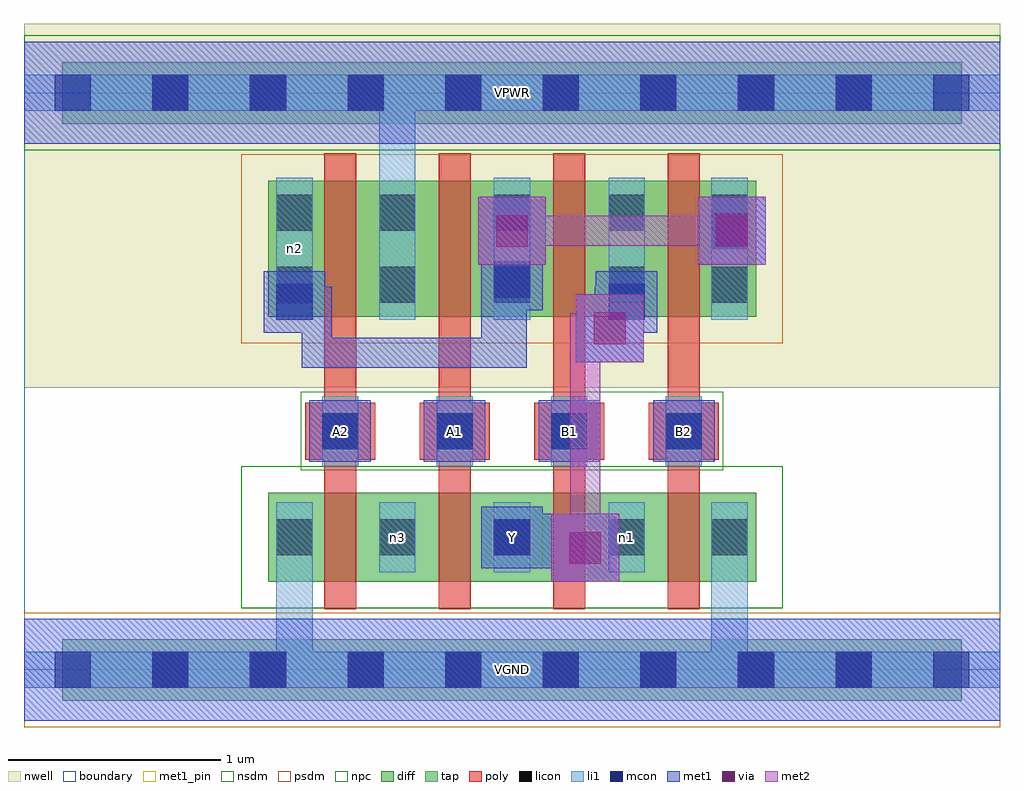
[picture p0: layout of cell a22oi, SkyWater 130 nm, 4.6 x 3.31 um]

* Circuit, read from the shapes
.subckt a22oi A1 A2 B1 B2 VGND VPWR Y n1 n2 n3
XM1 n3 A2 VGND VGND sky130_fd_pr__nfet_01v8 w=0.42 l=0.15
XM2 Y A1 n3 VGND sky130_fd_pr__nfet_01v8 w=0.42 l=0.15
XM3 n1 B1 Y VGND sky130_fd_pr__nfet_01v8 w=0.42 l=0.15
XM4 VGND B2 n1 VGND sky130_fd_pr__nfet_01v8 w=0.42 l=0.15
XM5 VPWR A2 n2 VPWR sky130_fd_pr__pfet_01v8 w=0.64 l=0.15
XM6 n2 A1 VPWR VPWR sky130_fd_pr__pfet_01v8 w=0.64 l=0.15
XM7 Y B1 n2 VPWR sky130_fd_pr__pfet_01v8 w=0.64 l=0.15
XM8 n2 B2 Y VPWR sky130_fd_pr__pfet_01v8 w=0.64 l=0.15
.ends

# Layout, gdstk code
import gdstk
lib = gdstk.Library(unit=1e-6, precision=1e-09)
def R(c, l, rs):  # rectangles x0, y0, x1, y1
    for r in rs: c.add(gdstk.rectangle(r[:2], r[2:], *l))
def A(c, l, x, y, w, h, nx, ny, dx, dy):  # array of equal rectangles
    R(c, l, [(x+i*dx, y+j*dy, x+i*dx+w, y+j*dy+h) for i in range(nx) for j in range(ny)])
nwell = (64, 20)
diff = (65, 20)
tap = (65, 44)
poly = (66, 20)
licon = (66, 44)
li1 = (67, 20)
mcon = (67, 44)
met1_pin = (68, 16)
met1 = (68, 20)
via = (68, 44)
met2 = (69, 20)
nsdm = (93, 44)
psdm = (94, 20)
npc = (95, 20)
boundary = (235, 4)

a22oi = lib.new_cell('a22oi')
R(a22oi, nwell, [(0,1.33,4.6,3.045)])
R(a22oi, diff, [(1.15,0.415,3.45,0.835), (1.15,1.665,3.45,2.305)])
R(a22oi, tap, [(0.18,-0.145,4.42,0.145), (0.18,2.575,4.42,2.865)])
A(a22oi, poly, 1.415, 0.285, 0.15, 2.15, 4, 1, 0.54, 0)
A(a22oi, poly, 1.325, 0.99, 0.33, 0.27, 4, 1, 0.54, 0)
A(a22oi, licon, 0.605, -0.085, 0.17, 0.17, 8, 2, 0.46, 2.72)
A(a22oi, licon, 1.675, 0.54, 0.17, 0.17, 3, 2, 0.54, 1.19)
A(a22oi, licon, 1.405, 1.04, 0.17, 0.17, 4, 1, 0.54, 0)
A(a22oi, licon, 1.675, 2.07, 0.17, 0.17, 3, 1, 0.54, 0)
R(a22oi, licon, [(1.19,0.54,1.36,0.71), (3.24,0.54,3.41,0.71), (1.19,1.73,1.36,1.9), (3.24,1.73,3.41,1.9), (1.19,2.07,1.36,2.24), (3.24,2.07,3.41,2.24)])
A(a22oi, li1, 1.675, 0.46, 0.17, 0.33, 3, 1, 0.54, 0)
A(a22oi, li1, 1.405, 0.96, 0.17, 0.33, 4, 1, 0.54, 0)
A(a22oi, li1, 1.675, 1.65, 0.17, 0.67, 3, 1, 0.54, 0)
R(a22oi, li1, [(0,-0.085,4.6,0.085), (1.19,-0.085,1.36,0.79), (3.24,-0.085,3.41,0.79), (1.19,0.46,1.36,0.79), (3.24,0.46,3.41,0.79), (1.19,1.65,1.36,2.32), (1.675,1.65,1.845,2.805), (3.24,1.65,3.41,2.32), (0,2.635,4.6,2.805)])
A(a22oi, mcon, 0.145, -0.085, 0.17, 0.17, 10, 2, 0.46, 2.72)
A(a22oi, mcon, 1.405, 1.04, 0.17, 0.17, 4, 1, 0.54, 0)
R(a22oi, mcon, [(2.215,0.54,2.385,0.71), (1.19,1.65,1.36,1.82), (2.755,1.65,2.925,1.82), (2.215,1.755,2.385,1.925), (3.24,1.985,3.41,2.155)])
A(a22oi, met1_pin, 1.345, 0.98, 0.29, 0.29, 4, 1, 0.54, 0)
R(a22oi, met1_pin, [(0,-0.24,4.6,0.24), (2.155,0.48,2.445,0.77), (0,2.48,4.6,2.96)])
A(a22oi, met1, 1.345, 0.98, 0.29, 0.29, 4, 1, 0.54, 0)
R(a22oi, met1, [(0,-0.24,4.6,0.24), (2.485,0.415,2.805,0.735), (2.155,0.48,2.445,0.77), (2.445,0.48,2.485,0.735), (2.23,0.505,2.37,0.645), (2.23,0.505,2.715,0.645), (1.31,1.425,2.37,1.565), (1.31,1.425,1.45,1.68), (2.23,1.425,2.37,1.91), (2.6,1.45,2.92,1.77), (1.31,1.54,1.45,1.805), (2.69,1.54,2.83,1.805), (2.155,1.565,2.37,1.695), (1.13,1.59,1.42,1.88), (2.695,1.59,2.985,1.88), (1.205,1.665,1.45,1.805), (2.69,1.665,2.91,1.805), (2.155,1.695,2.445,1.985), (2.23,1.77,2.37,2.14), (2.14,1.91,2.46,2.23), (3.175,1.91,3.495,2.23), (3.18,1.925,3.47,2.215), (3.255,2,3.405,2.14), (0,2.48,4.6,2.96)])
R(a22oi, via, [(2.57,0.5,2.72,0.65), (2.685,1.535,2.835,1.685), (2.225,1.995,2.375,2.145), (3.26,1.995,3.41,2.145)])
R(a22oi, met2, [(2.485,0.415,2.805,0.735), (2.575,0.505,2.715,1.68), (2.6,1.45,2.92,1.77), (2.575,1.54,2.83,1.68), (2.14,1.91,2.46,2.23), (3.175,1.91,3.495,2.23), (2.23,2,3.405,2.14)])
R(a22oi, nsdm, [(1.025,0.29,3.575,0.96), (0,2.45,4.6,2.99)])
R(a22oi, psdm, [(0,-0.27,4.6,0.27), (1.025,1.54,3.575,2.43)])
R(a22oi, npc, [(1.305,0.94,3.295,1.31)])
R(a22oi, boundary, [(0,0,4.6,2.72)])
a22oi.add(gdstk.Label('n3', (1.76,0.625), layer=67, texttype=5))
a22oi.add(gdstk.Label('n1', (2.84,0.625), layer=67, texttype=5))
a22oi.add(gdstk.Label('n2', (1.275,1.985), layer=67, texttype=5))
a22oi.add(gdstk.Label('A1', (2.03,1.125), layer=68, texttype=5))
a22oi.add(gdstk.Label('A2', (1.49,1.125), layer=68, texttype=5))
a22oi.add(gdstk.Label('B1', (2.57,1.125), layer=68, texttype=5))
a22oi.add(gdstk.Label('B2', (3.11,1.125), layer=68, texttype=5))
a22oi.add(gdstk.Label('Y', (2.3,0.625), layer=68, texttype=5))
a22oi.add(gdstk.Label('VPWR', (2.3,2.72), layer=68, texttype=5))
a22oi.add(gdstk.Label('VGND', (2.3,0), layer=68, texttype=5))
a22oi.add(gdstk.Label('A1', (2.03,1.125), layer=68, texttype=16))
a22oi.add(gdstk.Label('A2', (1.49,1.125), layer=68, texttype=16))
a22oi.add(gdstk.Label('B1', (2.57,1.125), layer=68, texttype=16))
a22oi.add(gdstk.Label('B2', (3.11,1.125), layer=68, texttype=16))
a22oi.add(gdstk.Label('Y', (2.3,0.625), layer=68, texttype=16))
a22oi.add(gdstk.Label('VPWR', (2.3,2.72), layer=68, texttype=16))
a22oi.add(gdstk.Label('VGND', (2.3,0), layer=68, texttype=16))

lib.write_gds('a22oi.gds')
